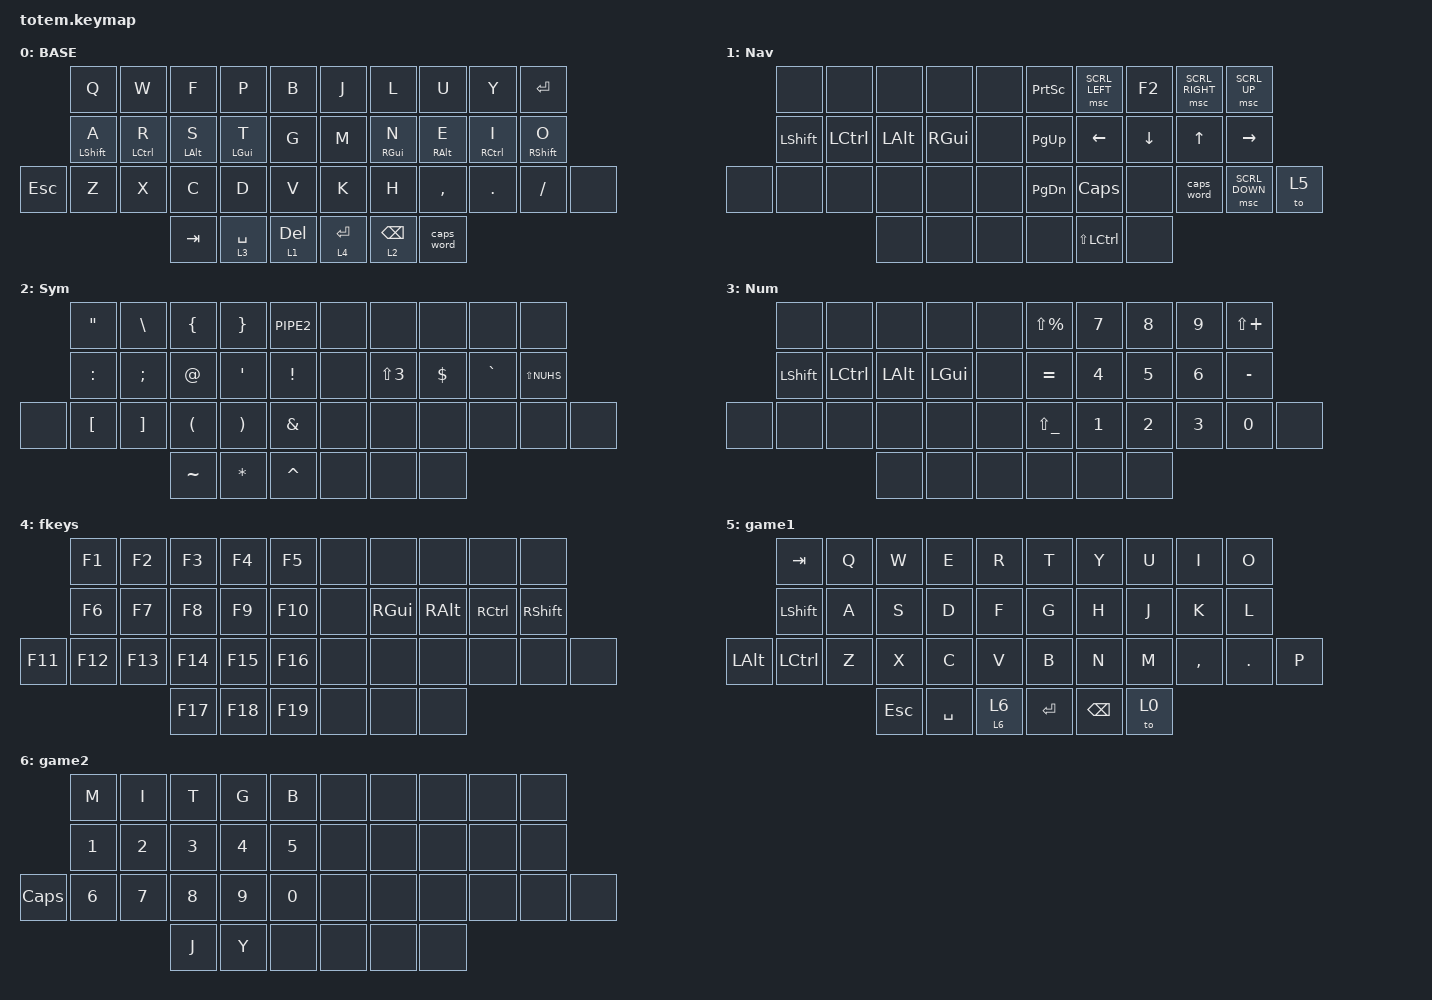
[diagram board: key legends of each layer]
#include <behaviors.dtsi>
#include <dt-bindings/zmk/keys.h>
#include <dt-bindings/zmk/pointing.h>

#define BASE 0
#define Nav  1
#define Sym  2
#define Num  3
#define fkeys 4
#define game1 5
#define game2 6

&mt {
    quick-tap-ms = <100>;
    global-quick-tap;
    flavor = "tap-preferred";
    tapping-term-ms = <170>;
};
/ {
    macros {
        gif: gif {
            compatible = "zmk,behavior-macro";
           #binding-cells = <0>;
            bindings =
                <&macro_press>,
                <&kp LSHFT>,
                <&macro_tap>,
                <&kp N2>,
                <&macro_release>,
                <&kp LSHFT>,
                <&macro_tap>,
                <&kp G &kp I &kp F>;
        };
    slm: sticky_layer_key {
        compatible = "zmk,behavior-hold-tap";
       #binding-cells = <2>;
        bindings = <&mo>, <&sl>; 
        flavor = "tap-preferred";
        tapping-term-ms = <200>;
};   
    }; 

    keymap {
        compatible = "zmk,keymap";

        BASE {

            display-name = "BASE";

            bindings = <
            &kp Q       &kp W       &kp F        &kp P        &kp B            &kp J        &kp L            &kp U       &kp Y        &kp ENTER
            &mt LSHFT A  &mt LCTRL R  &mt LALT S  &mt LGUI T  &kp G            &kp M        &mt RGUI N       &mt RALT E  &mt RCTRL I  &mt RSHFT O
&kp ESCAPE  &kp Z       &kp X       &kp C        &kp D        &kp V            &kp K        &kp H            &kp COMMA   &kp DOT      &kp FSLH    &none
                                    &kp TAB      &lt 3 SPACE  &lt 1 DEL        &lt 4 ENTER  &lt 2 BACKSPACE  &caps_word
            >;
        };

        Nav {
            bindings = <
        &none      &none      &none     &none     &none        &kp PRINTSCREEN        &msc SCRL_LEFT  &kp F2          &msc SCRL_RIGHT  &msc SCRL_UP
        &kp LSHFT  &kp LCTRL  &kp LALT  &kp RGUI  &none        &kp PG_UP              &kp LEFT        &kp DOWN_ARROW  &kp UP_ARROW     &kp RIGHT
&none   &none      &none      &none     &none     &none        &kp PG_DN              &kp CAPS        &none           &caps_word       &msc SCRL_DOWN   &to 5
                              &none     &none     &none        &none                  &kp LS(LCTRL)   &none
            >;
        };

        Sym {
            bindings = <
         &kp DQT      &kp BSLH      &kp LEFT_BRACE        &kp RIGHT_BRACE      &kp PIPE2        &none  &none       &none       &none      &none
         &kp COLON    &kp SEMI      &kp AT                &kp SQT              &kp EXCL         &none  &kp LS(N3)  &kp DOLLAR  &kp GRAVE  &kp LS(NUHS)
&none  &kp LBKT     &kp RBKT      &kp LEFT_PARENTHESIS  &kp RIGHT_PARENTHESIS  &kp AMPS         &none  &none       &none       &none      &none         &none
                                      &kp TILDE             &kp STAR           &kp CARET        &none  &none       &none
            >;
        };

        Num {
            bindings = <
       &none      &none      &none     &none     &none        &kp LS(PRCNT)  &kp N7  &kp N8  &kp N9  &kp LS(PLUS)
       &kp LSHFT  &kp LCTRL  &kp LALT  &kp LGUI  &none        &kp EQUAL      &kp N4  &kp N5  &kp N6  &kp MINUS
&none  &none      &none      &none     &none     &none        &kp LS(UNDER)  &kp N1  &kp N2  &kp N3  &kp N0        &none
                             &none     &none     &none        &none          &none   &none
            >;
        };

        fkeys {
            bindings = <
         &kp F1   &kp F2   &kp F3   &kp F4   &kp F5         &none   &none     &none     &none      &none
         &kp F6   &kp F7   &kp F8   &kp F9   &kp F10        &none   &kp RGUI  &kp RALT  &kp RCTRL  &kp RSHFT
&kp F11  &kp F12  &kp F13  &kp F14  &kp F15  &kp F16        &none   &none     &none     &none      &none      &none
                           &kp F17  &kp F18  &kp F19        &none   &none     &none
            >;
        };

        game1 {
            bindings = <
          &kp TAB    &kp Q  &kp W    &kp E      &kp R           &kp T       &kp Y    &kp U   &kp I      &kp O
          &kp LSHFT  &kp A  &kp S    &kp D      &kp F           &kp G       &kp H    &kp J   &kp K      &kp L
&kp LALT  &kp LCTRL  &kp Z  &kp X    &kp C      &kp V           &kp B       &kp N    &kp M   &kp COMMA  &kp DOT  &kp P
                            &kp ESC  &kp SPACE  &slm 6 6        &kp ENTER  &kp BSPC  &to 0
            >;
        };

        game2 {
            bindings = <
          &kp M   &kp I   &kp T   &kp G   &kp B      &none  &none  &none  &none  &none
          &kp N1  &kp N2  &kp N3  &kp N4  &kp N5     &none  &none  &none  &none  &none
&kp CAPS  &kp N6  &kp N7  &kp N8  &kp N9  &kp N0     &none  &none  &none  &none  &none  &none
                           &kp J  &kp Y   &none      &none  &none  &none
            >;
        };
    };
};
